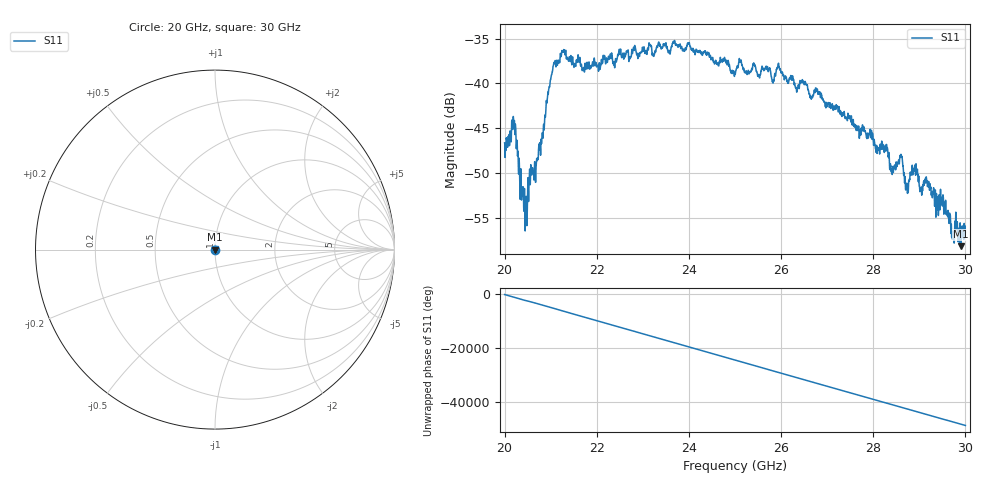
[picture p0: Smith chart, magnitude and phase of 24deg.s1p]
#  HZ  S  RI  R  50.00
! Rohde & Schwarz ZVA40 4Ports - Version 3.90 - 1145.1110k42 SN: 100403
! Date: 2023-10-03 10:31:18
! Measurement: S12
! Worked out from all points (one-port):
!   5001 points, 20 GHz to 30 GHz, reference 50 ohm
!   lowest |S11| = -58.1 dB at 29.9 GHz (marker M1), VSWR 1.00, Z = 49.9 - j0.0714 ohm
!   |S11| at or under -10 dB: start of sweep to end of sweep
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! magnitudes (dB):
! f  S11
! 20 GHz  -46.6
! 20.2 GHz  -44.4
! 20.37 GHz  -52.1
! 20.45 GHz  -54.6
! 20.55 GHz  -50.3
! 20.68 GHz  -49.6
! 20.82 GHz  -45.5
! 21.04 GHz  -38.5
! 21.25 GHz  -36.4
! 21.72 GHz  -38.4
! 22.5 GHz  -36.6
! 23.75 GHz  -35.8
! 25 GHz  -38.9
! 25.12 GHz  -37.6
! 26.25 GHz  -39.2
! 27.5 GHz  -43.9
! 28.26 GHz  -47.0
! 28.4 GHz  -49.5
! 28.6 GHz  -48.1
! 28.75 GHz  -51.9
! 28.92 GHz  -50.2
! 29.03 GHz  -52.0
! 29.17 GHz  -51.1
! 29.37 GHz  -52.4
! 29.5 GHz  -53.3
! 29.72 GHz  -57.0
! 29.9 GHz  -58.1
! 30 GHz  -56.6
